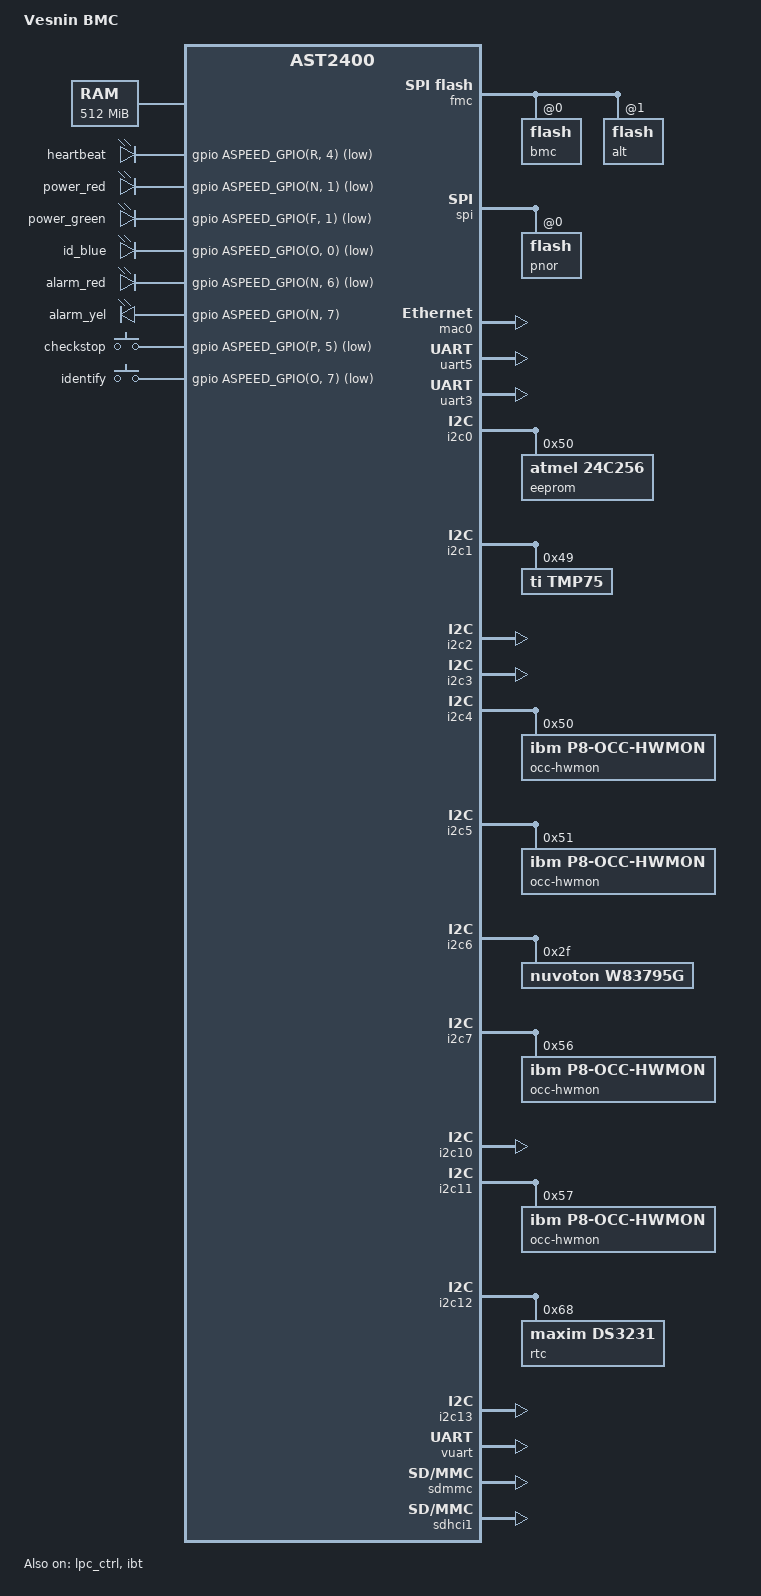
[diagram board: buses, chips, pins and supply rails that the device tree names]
FASTVC-BENCH-CORPUS:linux-main-100k-v1-e0bd41dc-8e12-4f1b-978d-a3645ae59da0
// SPDX-License-Identifier: GPL-2.0+
// Copyright 2019 YADRO
/dts-v1/;

#include "aspeed-g4.dtsi"
#include <dt-bindings/gpio/aspeed-gpio.h>

/ {
	model = "Vesnin BMC";
	compatible = "yadro,vesnin-bmc", "aspeed,ast2400";

	chosen {
		stdout-path = &uart5;
		bootargs = "console=ttyS4,115200 earlyprintk";
	};

	memory@40000000 {
		reg = <0x40000000 0x20000000>;
	};

	reserved-memory {
		#address-cells = <1>;
		#size-cells = <1>;
		ranges;

		vga_memory: framebuffer@5f000000 {
			no-map;
			reg = <0x5f000000 0x01000000>; /* 16MB */
		};
		flash_memory: region@5c000000 {
			no-map;
			reg = <0x5c000000 0x02000000>; /* 32M */
		};
	};

	leds {
		compatible = "gpio-leds";

		heartbeat {
			gpios = <&gpio ASPEED_GPIO(R, 4) GPIO_ACTIVE_LOW>;
		};
		power_red {
			gpios = <&gpio ASPEED_GPIO(N, 1) GPIO_ACTIVE_LOW>;
		};

		power_green {
			gpios = <&gpio ASPEED_GPIO(F, 1) GPIO_ACTIVE_LOW>;
		};

		id_blue {
			gpios = <&gpio ASPEED_GPIO(O, 0) GPIO_ACTIVE_LOW>;
		};

		alarm_red {
			gpios = <&gpio ASPEED_GPIO(N, 6) GPIO_ACTIVE_LOW>;
		};

		alarm_yel {
			gpios = <&gpio ASPEED_GPIO(N, 7) GPIO_ACTIVE_HIGH>;
		};
	};

	gpio-keys {
		compatible = "gpio-keys";

		button_checkstop {
			label = "checkstop";
			linux,code = <74>;
			gpios = <&gpio ASPEED_GPIO(P, 5) GPIO_ACTIVE_LOW>;
		};

		button_identify {
			label = "identify";
			linux,code = <152>;
			gpios = <&gpio ASPEED_GPIO(O, 7) GPIO_ACTIVE_LOW>;
		};
	};
};

&fmc {
	status = "okay";
	flash@0 {
		status = "okay";
		m25p,fast-read;
        label = "bmc";
#include "openbmc-flash-layout.dtsi"
	};

	flash@1 {
		status = "okay";
		m25p,fast-read;
		label = "alt";
	};
};

&spi {
	status = "okay";
	pinctrl-names = "default";
	pinctrl-0 = <&pinctrl_spi1debug_default>;

	flash@0 {
		status = "okay";
		label = "pnor";
		m25p,fast-read;
	};
};

&mac0 {
	status = "okay";
	use-ncsi;
	pinctrl-names = "default";
	pinctrl-0 = <&pinctrl_rmii1_default>;
};


&uart5 {
	status = "okay";
};

&lpc_ctrl {
	status = "okay";
	memory-region = <&flash_memory>;
	flash = <&spi>;
};

&ibt {
	status = "okay";
};

&uart3 {
	status = "okay";
	pinctrl-names = "default";
	pinctrl-0 = <&pinctrl_txd2_default &pinctrl_rxd2_default>;
};

&i2c0 {
	status = "okay";

	eeprom@50 {
		compatible = "atmel,24c256";
		reg = <0x50>;
		pagesize = <64>;
	};
};

&i2c1 {
	status = "okay";

	tmp75@49 {
		compatible = "ti,tmp75";
		reg = <0x49>;
	};
};

&i2c2 {
	status = "okay";
};

&i2c3 {
	status = "okay";
};

&i2c4 {
	status = "okay";

	occ-hwmon@50 {
		compatible = "ibm,p8-occ-hwmon";
		reg = <0x50>;
	};
};

&i2c5 {
	status = "okay";

	occ-hwmon@51 {
		compatible = "ibm,p8-occ-hwmon";
		reg = <0x51>;
	};
};

&i2c6 {
	status = "okay";

	w83795g@2f {
		compatible = "nuvoton,w83795g";
		reg = <0x2f>;
	};
};

&i2c7 {
	status = "okay";

	occ-hwmon@56 {
		compatible = "ibm,p8-occ-hwmon";
		reg = <0x56>;
	};
};
/* bench 25378.1.0 ca81544b122f */
/* bench 25378.1.1 b9f6d6ef60f8 */
/* bench 25378.1.2 adeb64b4e3f1 */
/* bench 25378.1.3 a2a5da52dcac */
/* bench 25378.1.4 e774e0ae68d1 */
/* bench 25378.1.5 5c53df074b7c */
/* bench 25378.1.6 a78442bcb3fd */
/* bench 25378.1.7 1e0cb6c9c654 */
/* bench 25378.1.8 8accf771c527 */
/* bench 25378.1.9 e132ac5a2f4e */
/* bench 25378.1.10 92f77867b9d8 */
/* bench 25378.1.11 cd0ef0d62afe */
/* bench 25378.1.12 150f1f1030c8 */
/* bench 25378.1.13 ab4a9a6d3658 */
/* bench 25378.1.14 1aba419d3ca8 */
	status = "okay";
};

&i2c10 {
	status = "okay";
};

&i2c11 {
	status = "okay";

	occ-hwmon@57 {
		compatible = "ibm,p8-occ-hwmon";
		reg = <0x57>;
	};
};

&i2c12 {
	status = "okay";

	rtc@68 {
		compatible = "maxim,ds3231";
		reg = <0x68>;
	};
};

&i2c13 {
	status = "okay";
};

&vuart {
	status = "okay";
};

&wdt2 {
	aspeed,alt-boot;
};

&sdmmc {
	status = "okay";
};

&sdhci1 {
	status = "okay";

	pinctrl-names = "default";
	pinctrl-0 = <&pinctrl_sd2_default>;
	cd-inverted;
	disable-wp;
};
